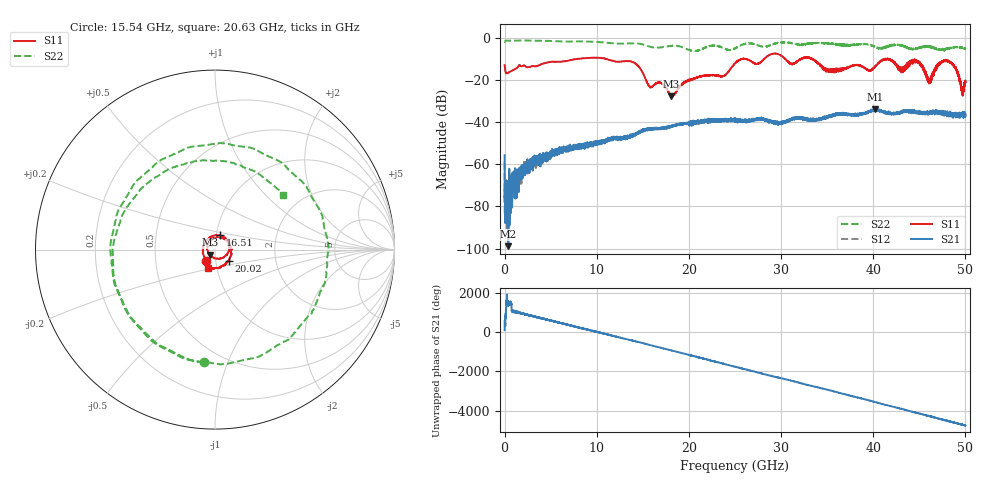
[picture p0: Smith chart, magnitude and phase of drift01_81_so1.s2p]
!Created with skrf (http://scikit-rf.org).
# Hz S RI R 50.0
!freq ReS11 ImS11 ReS21 ImS21 ReS12 ImS12 ReS22 ImS22
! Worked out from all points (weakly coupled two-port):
!   10001 points, 300 kHz to 50 GHz, reference 50 ohm
!   highest |S21| = -33.94 dB at 40.22 GHz (marker M1); lowest = -98.9 dB at 400.3 MHz (marker M2)
!   lowest |S11| = -27.9 dB at 18.09 GHz (marker M3), VSWR 1.08, Z = 47.1 - j2.65 ohm
!   |S11| at or under -10 dB: start of sweep to 8.07 GHz; 10.9 GHz to 25.88 GHz (14.98 GHz wide, 81.4 % of centre); 33.37 GHz to end of sweep (the widest 3 of 17)
!   |S22| runs from -6.4 to -1.4 dB; largest |S21 - S12| = 0.0037
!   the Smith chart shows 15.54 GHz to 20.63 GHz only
!   S11 on the Smith chart (normalised r, x): 15.54 GHz: 0.90, -0.11; 16.51 GHz: 1.05, +0.17; 20.02 GHz: 1.16, -0.14; 20.63 GHz: 0.91, -0.19
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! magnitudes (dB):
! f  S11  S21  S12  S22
! 300 kHz  -13.1  -55.7  -59.2  -2.1
! 400.3 MHz  -16.6  -98.9  -95.3  -1.4
! 3.105 GHz  -13.4  -58.8  -60.5  -1.4
! 8.335 GHz  -9.9  -50.5  -50.7  -1.8
! 13.87 GHz  -11.5  -47.3  -46.5  -2.7
! 15.54 GHz  -21.9  -43.7  -43.5  -4.0
! 16.51 GHz  -21.5  -43.2  -43.0  -4.8
! 16.67 GHz  -21.3  -43.2  -43.2  -4.8
! 18.09 GHz  -27.9  -42.1  -42.0  -3.9
! 20.02 GHz  -20.1  -40.3  -40.2  -5.8
! 20.63 GHz  -19.3  -40.1  -40.3  -6.3
! 25 GHz  -12.2  -39.8  -39.6  -5.0
! 33.34 GHz  -10.0  -38.9  -39.0  -2.7
! 35.14 GHz  -15.4  -37.6  -37.8  -2.8
! 40.22 GHz  -13.7  -33.9  -34.6  -4.4
! 41.67 GHz  -10.1  -35.8  -35.9  -4.0
! 43.03 GHz  -15.4  -35.0  -35.3  -3.8
! 44.81 GHz  -11.4  -35.9  -35.6  -5.0
! 46.13 GHz  -19.4  -35.5  -35.6  -4.3
! 48.06 GHz  -11.2  -36.6  -35.8  -5.4
! 49.64 GHz  -24.1  -35.9  -36.2  -4.7
! 50 GHz  -20.8  -37.2  -36.7  -5.2
